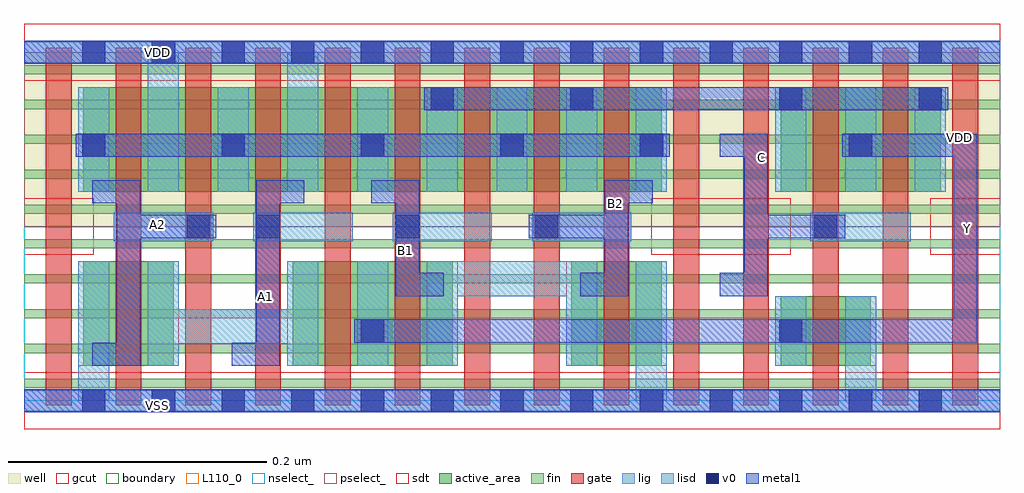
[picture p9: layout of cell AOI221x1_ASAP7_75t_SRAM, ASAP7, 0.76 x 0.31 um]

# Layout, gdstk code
import gdstk
lib = gdstk.Library(unit=1e-6, precision=2.5e-10)
def R(c, l, rs):  # rectangles x0, y0, x1, y1
    for r in rs: c.add(gdstk.rectangle(r[:2], r[2:], *l))
def A(c, l, x, y, w, h, nx, ny, dx, dy):  # array of equal rectangles
    R(c, l, [(x+i*dx, y+j*dy, x+i*dx+w, y+j*dy+h) for i in range(nx) for j in range(ny)])
def P(c, l, *ps):  # polygons
    for p in ps: c.add(gdstk.Polygon(p, *l))
well = (1, 0)
fin = (2, 0)
gate = (7, 0)
gcut = (10, 0)
active_area = (11, 0)
nselect_ = (12, 0)
pselect_ = (13, 0)
lig = (16, 0)
lisd = (17, 0)
v0 = (18, 0)
metal1 = (19, 0)
sdt = (88, 0)
boundary = (100, 0)
L110_0 = (110, 0)

aoi221x1_asap7_75t_sram = lib.new_cell('AOI221x1_ASAP7_75t_SRAM')
R(aoi221x1_asap7_75t_sram, well, [(0,0.135,0.756,0.27)])
A(aoi221x1_asap7_75t_sram, fin, 0, 0.01, 0.756, 0.007, 1, 10, 0, 0.027)
A(aoi221x1_asap7_75t_sram, gate, 0.017, -0.0035, 0.02, 0.277, 14, 1, 0.054, 0)
R(aoi221x1_asap7_75t_sram, gcut, [(0,-0.022,0.756,0.022), (0,0.113,0.054,0.157), (0.486,0.113,0.594,0.157), (0.702,0.113,0.756,0.157), (0,0.248,0.756,0.292)])
R(aoi221x1_asap7_75t_sram, active_area, [(0.046,0.027,0.116,0.108), (0.208,0.027,0.332,0.108), (0.424,0.027,0.494,0.108), (0.586,0.027,0.656,0.081), (0.046,0.162,0.494,0.243), (0.586,0.162,0.71,0.243)])
R(aoi221x1_asap7_75t_sram, nselect_, [(0,0,0.756,0.135)])
R(aoi221x1_asap7_75t_sram, pselect_, [(0,0.135,0.756,0.27)])
A(aoi221x1_asap7_75t_sram, lig, 0.0695, 0.1235, 0.077, 0.022, 4, 1, 0.108, 0)
R(aoi221x1_asap7_75t_sram, lig, [(0,-0.008,0.756,0.008), (0.609,0.1235,0.687,0.1455), (0,0.262,0.756,0.278)])
A(aoi221x1_asap7_75t_sram, lisd, 0.042, 0.162, 0.024, 0.081, 3, 1, 0.108, 0)
A(aoi221x1_asap7_75t_sram, lisd, 0.312, 0.162, 0.024, 0.081, 4, 1, 0.054, 0)
A(aoi221x1_asap7_75t_sram, lisd, 0.582, 0.162, 0.024, 0.081, 3, 1, 0.054, 0)
R(aoi221x1_asap7_75t_sram, lisd, [(0.042,0,0.066,0.108), (0.474,0,0.498,0.108), (0.636,0,0.66,0.081), (0.258,0.027,0.282,0.108), (0.582,0.027,0.606,0.081), (0.096,0.162,0.12,0.27), (0.204,0.162,0.228,0.27)])
P(aoi221x1_asap7_75t_sram, lisd, [(0.444,0.108),(0.312,0.108),(0.312,0.027),(0.336,0.027),(0.336,0.081),(0.42,0.081),(0.42,0.027),(0.444,0.027)],
  [(0.228,0.108),(0.204,0.108),(0.204,0.071),(0.12,0.071),(0.12,0.108),(0.096,0.108),(0.096,0.027),(0.12,0.027),(0.12,0.044),(0.204,0.044),(0.204,0.027),(0.228,0.027)])
A(aoi221x1_asap7_75t_sram, v0, 0.045, -0.009, 0.018, 0.018, 13, 2, 0.054, 0.27)
A(aoi221x1_asap7_75t_sram, v0, 0.18, 0.126, 0.018, 0.018, 3, 1, 0.108, 0)
A(aoi221x1_asap7_75t_sram, v0, 0.045, 0.189, 0.018, 0.018, 5, 1, 0.108, 0)
R(aoi221x1_asap7_75t_sram, v0, [(0.261,0.045,0.279,0.063), (0.585,0.045,0.603,0.063), (0.126,0.126,0.144,0.144), (0.612,0.126,0.63,0.144), (0.639,0.189,0.657,0.207), (0.315,0.225,0.333,0.243), (0.423,0.225,0.441,0.243), (0.585,0.225,0.603,0.243), (0.693,0.225,0.711,0.243)])
R(aoi221x1_asap7_75t_sram, metal1, [(0,-0.009,0.756,0.009), (0.04,0.189,0.5,0.207), (0.31,0.225,0.716,0.243), (0,0.261,0.756,0.279)])
P(aoi221x1_asap7_75t_sram, metal1, [(0.738,0.207),(0.634,0.207),(0.634,0.189),(0.72,0.189),(0.72,0.063),(0.256,0.063),(0.256,0.045),(0.738,0.045)],
  [(0.636,0.144),(0.576,0.144),(0.576,0.207),(0.539,0.207),(0.539,0.189),(0.558,0.189),(0.558,0.099),(0.539,0.099),(0.539,0.081),(0.576,0.081),(0.576,0.126),(0.636,0.126)],
  [(0.487,0.171),(0.45,0.171),(0.45,0.144),(0.391,0.144),(0.391,0.126),(0.45,0.126),(0.45,0.099),(0.431,0.099),(0.431,0.081),(0.468,0.081),(0.468,0.153),(0.487,0.153)],
  [(0.325,0.099),(0.306,0.099),(0.306,0.171),(0.269,0.171),(0.269,0.153),(0.288,0.153),(0.288,0.081),(0.325,0.081)],
  [(0.217,0.171),(0.18,0.171),(0.18,0.045),(0.161,0.045),(0.161,0.027),(0.198,0.027),(0.198,0.153),(0.217,0.153)],
  [(0.149,0.144),(0.09,0.144),(0.09,0.171),(0.053,0.171),(0.053,0.153),(0.072,0.153),(0.072,0.045),(0.053,0.045),(0.053,0.027),(0.09,0.027),(0.09,0.126),(0.149,0.126)])
A(aoi221x1_asap7_75t_sram, sdt, 0.204, 0.027, 0.024, 0.081, 3, 1, 0.054, 0)
A(aoi221x1_asap7_75t_sram, sdt, 0.042, 0.162, 0.024, 0.081, 9, 1, 0.054, 0)
A(aoi221x1_asap7_75t_sram, sdt, 0.582, 0.162, 0.024, 0.081, 3, 1, 0.054, 0)
R(aoi221x1_asap7_75t_sram, sdt, [(0.042,0.027,0.066,0.108), (0.096,0.027,0.12,0.108), (0.42,0.027,0.444,0.108), (0.474,0.027,0.498,0.108), (0.582,0.027,0.606,0.081), (0.636,0.027,0.66,0.081)])
R(aoi221x1_asap7_75t_sram, boundary, [(0,0,0.756,0.27)])
R(aoi221x1_asap7_75t_sram, L110_0, [(0,0,0.756,0.27)])
aoi221x1_asap7_75t_sram.add(gdstk.Label('Y', (0.7305,0.1335), layer=19, texttype=251))
aoi221x1_asap7_75t_sram.add(gdstk.Label('C', (0.571,0.1885), layer=19, texttype=251))
aoi221x1_asap7_75t_sram.add(gdstk.Label('B2', (0.458,0.1525), layer=19, texttype=251))
aoi221x1_asap7_75t_sram.add(gdstk.Label('B1', (0.2955,0.1165), layer=19, texttype=251))
aoi221x1_asap7_75t_sram.add(gdstk.Label('A2', (0.1035,0.1365), layer=19, texttype=251))
aoi221x1_asap7_75t_sram.add(gdstk.Label('A1', (0.187,0.081), layer=19, texttype=251))
aoi221x1_asap7_75t_sram.add(gdstk.Label('VSS', (0.1035,-0.0035), layer=19, texttype=251))
aoi221x1_asap7_75t_sram.add(gdstk.Label('VDD', (0.1035,0.2695), layer=19, texttype=251))
aoi221x1_asap7_75t_sram.add(gdstk.Label('VDD', (0.725,0.204), layer=1, texttype=251))
aoi221x1_asap7_75t_sram.add(gdstk.Label('VSS', (0.794,0.203), layer=3, texttype=251))

lib.write_gds('AOI221x1_ASAP7_75t_SRAM.gds')
